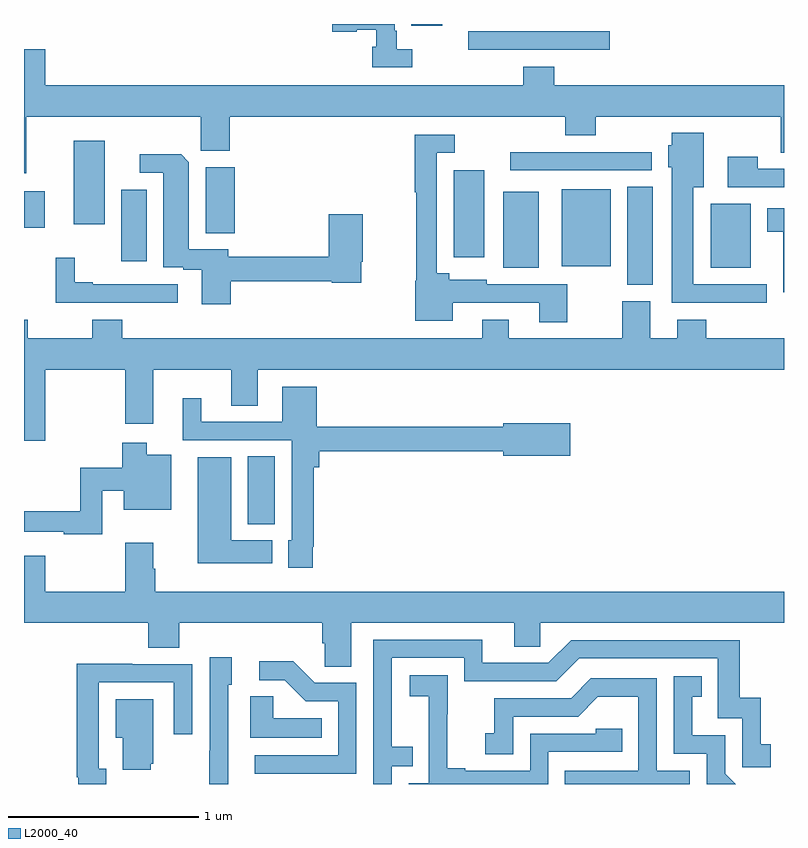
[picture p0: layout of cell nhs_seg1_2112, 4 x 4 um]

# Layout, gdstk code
import gdstk
lib = gdstk.Library(unit=1e-6, precision=1e-09)
def R(c, l, rs):  # rectangles x0, y0, x1, y1
    for r in rs: c.add(gdstk.rectangle(r[:2], r[2:], *l))
def P(c, l, *ps):  # polygons
    for p in ps: c.add(gdstk.Polygon(p, *l))
L2000_40 = (2000, 40)

nhs_seg1_2112 = lib.new_cell('nhs_seg1_2112')
R(nhs_seg1_2112, L2000_40, [(226.178,569.567,226.321,569.924), (228.176,570.827,228.31,571.343), (227.522,570.917,227.71,571.315), (228.614,570.917,228.826,571.252), (227.831,570.923,228.088,571.33), (225.512,570.951,225.646,571.327), (227.261,570.972,227.422,571.429), (225.956,571.099,226.109,571.446), (225,571.127,225.109,571.318), (225.263,571.146,225.424,571.585), (227.559,571.428,228.304,571.524), (227.337,572.064,228.082,572.16), (227.039,572.19,227.2,572.199)])
P(nhs_seg1_2112, L2000_40, [(227.044,572.067),(226.962,572.067),(226.962,572.164),(226.95,572.164),(226.95,572.199),(226.622,572.199),(226.622,572.159),(226.752,572.159),(226.752,572.17),(226.854,572.17),(226.854,572.078),(226.834,572.078),(226.834,571.971),(227.044,571.971)],
  [(225.013,571.712),(225.931,571.712),(225.931,571.531),(226.082,571.531),(226.082,571.712),(227.849,571.712),(227.849,571.613),(228.009,571.613),(228.009,571.712),(228.982,571.712),(228.982,571.522),(229,571.522),(229,571.876),(227.792,571.876),(227.792,571.975),(227.627,571.975),(227.627,571.876),(225.112,571.876),(225.112,572.065),(225,572.065),(225,571.413),(225.013,571.413)],
  [(228.91,570.828),(228.523,570.828),(228.523,571.34),(228.577,571.34),(228.577,571.627),(228.41,571.627),(228.41,571.56),(228.392,571.56),(228.392,571.446),(228.41,571.446),(228.41,570.731),(228.91,570.731)],
  [(227.859,570.828),(227.436,570.828),(227.436,570.853),(227.238,570.853),(227.238,570.887),(227.172,570.887),(227.172,571.521),(227.266,571.521),(227.266,571.617),(227.056,571.617),(227.056,571.314),(227.064,571.314),(227.064,570.849),(227.06,570.849),(227.06,570.638),(227.257,570.638),(227.257,570.732),(227.711,570.732),(227.711,570.63),(227.859,570.63)],
  [(226.088,570.846),(226.62,570.846),(226.62,570.838),(226.774,570.838),(226.774,570.949),(226.782,570.949),(226.782,571.198),(226.604,571.198),(226.604,570.974),(226.075,570.974),(226.075,571.014),(225.868,571.014),(225.868,571.472),(225.827,571.514),(225.609,571.514),(225.609,571.416),(225.734,571.416),(225.734,570.918),(225.839,570.918),(225.839,570.906),(225.935,570.906),(225.935,570.723),(226.088,570.723)],
  [(229,571.437),(228.861,571.437),(228.861,571.501),(228.705,571.501),(228.705,571.341),(229,571.341)],
  [(229,571.228),(228.911,571.228),(228.911,571.106),(228.995,571.106),(228.995,570.788),(229,570.788)],
  [(225.808,570.828),(225.361,570.828),(225.361,570.841),(225.267,570.841),(225.267,570.97),(225.167,570.97),(225.167,570.732),(225.808,570.732)],
  [(225.112,570.38),(225.532,570.38),(225.532,570.096),(225.679,570.096),(225.679,570.38),(226.091,570.38),(226.091,570.19),(226.231,570.19),(226.231,570.38),(229,570.38),(229,570.544),(228.59,570.544),(228.59,570.643),(228.437,570.643),(228.437,570.544),(228.295,570.544),(228.295,570.739),(228.148,570.739),(228.148,570.544),(227.551,570.544),(227.551,570.643),(227.411,570.643),(227.411,570.544),(225.518,570.544),(225.518,570.643),(225.358,570.643),(225.358,570.544),(225.021,570.544),(225.021,570.643),(225,570.643),(225,570.006),(225.112,570.006)],
  [(226.519,569.449),(226.526,569.449),(226.526,569.867),(226.553,569.867),(226.553,569.95),(227.522,569.95),(227.522,569.927),(227.875,569.927),(227.875,570.097),(227.522,570.097),(227.522,570.079),(226.54,570.079),(226.54,570.289),(226.358,570.289),(226.358,570.105),(225.934,570.105),(225.934,570.229),(225.836,570.229),(225.836,570.009),(226.41,570.009),(226.41,569.481),(226.391,569.481),(226.391,569.337),(226.519,569.337)],
  [(225.411,569.743),(225.524,569.743),(225.524,569.642),(225.775,569.642),(225.775,569.932),(225.646,569.932),(225.646,569.995),(225.517,569.995),(225.517,569.864),(225.295,569.864),(225.295,569.635),(225,569.635),(225,569.526),(225.208,569.526),(225.208,569.514),(225.411,569.514)],
  [(226.306,569.482),(226.09,569.482),(226.09,569.92),(225.914,569.92),(225.914,569.36),(226.306,569.36)],
  [(226.723,569.048),(227.579,569.048),(227.579,568.921),(227.718,568.921),(227.718,569.048),(229,569.048),(229,569.212),(225.692,569.212),(225.692,569.333),(225.679,569.333),(225.679,569.47),(225.532,569.47),(225.532,569.212),(225.112,569.212),(225.112,569.401),(225,569.401),(225,569.048),(225.653,569.048),(225.653,568.915),(225.818,568.915),(225.818,569.048),(226.571,569.048),(226.571,568.939),(226.584,568.939),(226.584,568.816),(226.723,568.816)],
  [(226.935,568.293),(227.045,568.293),(227.045,568.394),(226.935,568.394),(226.935,568.863),(227.316,568.863),(227.316,568.74),(227.802,568.74),(227.922,568.86),(228.651,568.86),(228.651,568.545),(228.78,568.545),(228.78,568.287),(228.931,568.287),(228.931,568.407),(228.878,568.407),(228.878,568.654),(228.767,568.654),(228.767,568.956),(227.88,568.956),(227.76,568.836),(227.413,568.836),(227.413,568.959),(226.839,568.959),(226.839,568.199),(226.935,568.199)],
  [(226.074,568.722),(226.093,568.722),(226.093,568.867),(225.978,568.867),(225.978,568.373),(225.976,568.373),(225.976,568.199),(226.074,568.199)],
  [(226.749,568.731),(226.53,568.731),(226.417,568.844),(226.239,568.844),(226.239,568.746),(226.373,568.746),(226.484,568.635),(226.653,568.635),(226.653,568.35),(226.215,568.35),(226.215,568.254),(226.749,568.254)],
  [(225.433,568.278),(225.393,568.278),(225.393,568.734),(225.789,568.734),(225.789,568.461),(225.885,568.461),(225.885,568.83),(225.569,568.83),(225.569,568.832),(225.277,568.832),(225.277,568.234),(225.285,568.234),(225.285,568.199),(225.433,568.199)],
  [(227.76,568.368),(228.149,568.368),(228.149,568.491),(228.009,568.491),(228.009,568.464),(227.664,568.464),(227.664,568.269),(227.323,568.269),(227.323,568.282),(227.228,568.282),(227.228,568.565),(227.229,568.565),(227.229,568.771),(227.031,568.771),(227.031,568.661),(227.129,568.661),(227.129,568.433),(227.13,568.433),(227.13,568.203),(227.025,568.203),(227.025,568.199),(227.76,568.199)],
  [(228.69,568.254),(228.69,568.455),(228.517,568.455),(228.517,568.659),(228.566,568.659),(228.566,568.765),(228.42,568.765),(228.42,568.359),(228.594,568.359),(228.594,568.199),(228.745,568.199)],
  [(228.504,568.269),(228.33,568.269),(228.33,568.755),(227.984,568.755),(227.879,568.65),(227.476,568.65),(227.476,568.465),(227.427,568.465),(227.427,568.356),(227.574,568.356),(227.574,568.554),(227.916,568.554),(228.02,568.658),(228.234,568.658),(228.234,568.269),(227.845,568.269),(227.845,568.199),(228.504,568.199)],
  [(226.568,568.546),(226.311,568.546),(226.311,568.661),(226.19,568.661),(226.19,568.442),(226.568,568.442)],
  [(225.668,568.305),(225.679,568.305),(225.679,568.645),(225.482,568.645),(225.482,568.442),(225.521,568.442),(225.521,568.274),(225.668,568.274)])

lib.write_gds('nhs_seg1_2112.gds')
